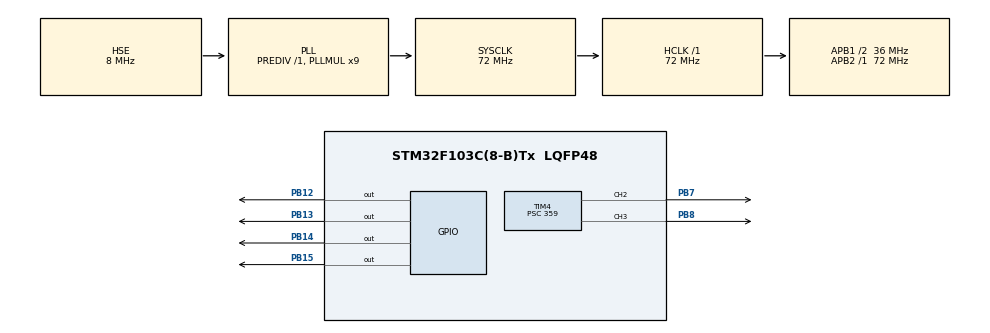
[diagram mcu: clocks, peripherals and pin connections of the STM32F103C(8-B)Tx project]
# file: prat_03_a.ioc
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Mcu.Family=STM32F1
Mcu.Name=STM32F103C(8-B)Tx
Mcu.Package=LQFP48
NVIC.PriorityGroup=NVIC_PRIORITYGROUP_4
NVIC.TIM4_IRQn=true\:0\:0\:false\:false\:true\:true\:true
PA13.Mode=Serial_Wire
PA13.Signal=SYS_JTMS-SWDIO
PA14.Mode=Serial_Wire
PA14.Signal=SYS_JTCK-SWCLK
PB12.Signal=GPIO_Output
PB13.Signal=GPIO_Output
PB14.Signal=GPIO_Output
PB15.Signal=GPIO_Output
PB7.Signal=S_TIM4_CH2
PB8.Signal=S_TIM4_CH3
PD0-OSC_IN.Mode=HSE-External-Oscillator
PD0-OSC_IN.Signal=RCC_OSC_IN
PD1-OSC_OUT.Mode=HSE-External-Oscillator
PD1-OSC_OUT.Signal=RCC_OSC_OUT
ProjectManager.HeapSize=0x200
ProjectManager.StackSize=0x400
ProjectManager.TargetToolchain=STM32CubeIDE
RCC.AHBFreq_Value=72000000
RCC.APB1CLKDivider=RCC_HCLK_DIV2
RCC.APB1Freq_Value=36000000
RCC.APB1TimFreq_Value=72000000
RCC.APB2Freq_Value=72000000
RCC.APB2TimFreq_Value=72000000
RCC.HCLKFreq_Value=72000000
RCC.PLLMUL=RCC_PLL_MUL9
RCC.PLLSourceVirtual=RCC_PLLSOURCE_HSE
RCC.SYSCLKFreq_VALUE=72000000
RCC.SYSCLKSource=RCC_SYSCLKSOURCE_PLLCLK
RCC.USBFreq_Value=72000000
SH.S_TIM4_CH2.0=TIM4_CH2,PWM Generation2 CH2
SH.S_TIM4_CH3.0=TIM4_CH3,PWM Generation3 CH3
TIM4.Channel-PWM\ Generation2\ CH2=TIM_CHANNEL_2
TIM4.Channel-PWM\ Generation3\ CH3=TIM_CHANNEL_3
TIM4.Period=99
TIM4.Prescaler=359
VP_TIM4_VS_ClockSourceINT.Mode=Internal
board=custom

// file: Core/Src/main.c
/* USER CODE BEGIN Header */
/**
  ******************************************************************************
  * @file           : main.c
  * @brief          : Main program body
  ******************************************************************************
  * @attention
  *
  * <h2><center>&copy; Copyright (c) 2021 STMicroelectronics.
  * All rights reserved.</center></h2>
  *
  * This software component is licensed by ST under BSD 3-Clause license,
  * the "License"; You may not use this file except in compliance with the
  * License. You may obtain a copy of the License at:
  *                        opensource.org/licenses/BSD-3-Clause
  *
  ******************************************************************************
  */
/* USER CODE END Header */
#include "main.h"

#define DT_D1 150                       // delay do LED D1
#define DT_D2 200                      // delay do LED D2
#define DT_D3 400                      // delay do LED D3
#define DT_D4 600                      // delay do LED D4
#define PER_PB7 2000                   // tempo do ciclo (ms) do led PB7
#define PER_PB8 2000                   // tempo do ciclo (ms) do led PB8
#define PWM_ARR 100                    // resolução (num steps) do PWM
#define MAX_quem_pisca 4               // num max LEDs piscando...

TIM_HandleTypeDef htim4;

/* USER CODE BEGIN PV */
volatile uint32_t lb12;
volatile uint32_t lb13;
volatile uint32_t lb14;
volatile uint32_t lb15;
volatile uint32_t lb7;
volatile uint32_t lb8;

/* USER CODE END PV */

void SystemClock_Config(void);
static void MX_GPIO_Init(void);
static void MX_TIM4_Init(void);

int main(void)
{

  /* MCU Configuration--------------------------------------------------------*/

  /* Reset of all peripherals, Initializes the Flash interface and the Systick. */
  HAL_Init();

  /* Configure the system clock */
  SystemClock_Config();

  /* Initialize all configured peripherals */
  MX_GPIO_Init();
  MX_TIM4_Init();
  /* USER CODE BEGIN 2 */
  // como não garante entrar nas FSM na primeira vez, garante LEDs apagados
  	HAL_GPIO_WritePin(GPIOB, GPIO_PIN_15|GPIO_PIN_14|GPIO_PIN_13|GPIO_PIN_12,
  			          GPIO_PIN_SET); // desliga os LEDs
    // para iniciar vars de controle para máquinas de estados dos leds
      static enum {INI_D1, LIG_D1, DSLG_D1} sttD1=INI_D1; // var estados de D1
      static enum {INI_D2, LIG_D2, DSLG_D2} sttD2=INI_D2; // var estados de D2
      static enum {INI_D3, LIG_D3, DSLG_D3} sttD3=INI_D3; // var estados de D3
      static enum {INI_D4, LIG_D4, DSLG_D4} sttD4=INI_D4; // var estados de D4
      static enum {INI_D7, INC_D7, DEC_D7}  sttD7=INI_D7; // var estados de D7
      static enum {INI_D8, INC_D8, DEC_D8}  sttD8=INI_D8; // var estados de D8
    // para controlar vars tempos de entrada na rotina ON/OFF de cada LED
      uint32_t tin_D1=0, tin_D2=0, tin_D3=0, tin_D4=0,
      		   tin_D7=0, tin_D8=0, quem_pisca=1;
      uint16_t dc_D7 = 0;                // ini dc_D7 (brilho LED D7)
      uint16_t dc_D8 = PWM_ARR;          // ini dc_D8 com maximo
      int dt_D7 = PER_PB7/(2*PWM_ARR);   // calc delta tempo p/ PB7
      int dt_D8 = PER_PB8/(2*PWM_ARR);   // calc delta tempo p/ PB8 = PB7
      // inicializar o PWM do timer 4 ch 2 zerado
      HAL_TIM_PWM_Start(&htim4, TIM_CHANNEL_2); // inicializa PWM no T4C2
      TIM4->CCR2 = dc_D7;                // inicia comparador PWM c/ 0
      HAL_TIM_PWM_Start(&htim4, TIM_CHANNEL_3); // inicializa PWM no T4C3
      TIM4->CCR3 = dc_D8;                // inicia comparador PWM c/ ARR-1

  /* USER CODE END 2 */

  /* Infinite loop */
  while (1)
  {

    /* USER CODE BEGIN 3 */
  // executa sempre: teste não deixa a var quem_pisca ser maior que o máximo
	  if(quem_pisca > MAX_quem_pisca) quem_pisca=1;

  // tarefa #1 : controlar o estado do LED D1
	if (quem_pisca==1)
	{
		switch (sttD1)
		{
		  case INI_D1:                 // vai iniciar a máquina de estado
			tin_D1 = HAL_GetTick();    // tempo inicial que iniciou a tarefa
			sttD1 = LIG_D1;            // prox estado da máquina
			HAL_GPIO_WritePin(GPIOB, GPIO_PIN_15, GPIO_PIN_SET); // desl o LED
			break;
		  case LIG_D1:                 // estado para ligar o LED
			if((HAL_GetTick()-tin_D1)>DT_D1) // se HAL_GetTick()-tin_D1 > DT_D1
			{
			  tin_D1 = HAL_GetTick();  // guarda tempo p/ prox mudança estado
			  sttD1 = DSLG_D1;         // muda o prox estado da máquina
			  HAL_GPIO_WritePin(GPIOB, GPIO_PIN_15, GPIO_PIN_RESET); // ligaLED
			  lb15 = 0;
			}
			break;
		  case DSLG_D1:                // estado para desligar o LED
			if((HAL_GetTick()-tin_D1)>DT_D1) // se HAL_GetTick()-tin_D1 > DT_D1
			{
			  tin_D1 = HAL_GetTick();  // guarda tempo p/ prox mudança estado
			  sttD1 = LIG_D1;          // muda o prox estado da máquina
			  HAL_GPIO_WritePin(GPIOB, GPIO_PIN_15, GPIO_PIN_SET); // desl LED
			  lb15 = 1;
			  quem_pisca ++;
			}
			break;
		};
	}

	// tarefa #2 : controlar o estado do LED D2
	if (quem_pisca==2)
	{
		switch (sttD2)
		{
		  case INI_D2:                 // vai iniciar a máquina de estado
			tin_D2 = HAL_GetTick();    // tempo inicial que iniciou a tarefa
			sttD2 = LIG_D2;            // prox estado da máquina
			HAL_GPIO_WritePin(GPIOB, GPIO_PIN_14, GPIO_PIN_SET); // desl o LED

			break;
		  case LIG_D2:                 // estado para ligar o LED
			if((HAL_GetTick()-tin_D2)>DT_D2) // se HAL_GetTick()-tin_D2 > DT_D2
			{
			  tin_D2 = HAL_GetTick();  // guarda tempo p/ prox mudança estado
			  sttD2 = DSLG_D2;         // muda o prox estado da máquina
			  HAL_GPIO_WritePin(GPIOB, GPIO_PIN_14, GPIO_PIN_RESET); // ligaLED
			  lb14 = 0;
			}
			break;
		  case DSLG_D2:                // estado para desligar o LED
			if((HAL_GetTick()-tin_D2)>DT_D2) // se HAL_GetTick()-tin_D2 > DT_D2
			{
			  tin_D2 = HAL_GetTick();  // guarda tempo p/ prox mudança estado
			  sttD2 = LIG_D2;          // muda o prox estado da máquina
			  HAL_GPIO_WritePin(GPIOB, GPIO_PIN_14, GPIO_PIN_SET); // desl LED
			  lb14 = 1;
			  quem_pisca ++;
			}
			break;
		};
	}

  // tarefa #3 : controlar o estado do LED D3
	if (quem_pisca==3)
	{
		switch (sttD3)
		{
		  case INI_D3:                 // vai iniciar a máquina de estado
			tin_D3 = HAL_GetTick();    // tempo inicial que iniciou a tarefa
			sttD3 = LIG_D3;            // prox estado da máquina
			HAL_GPIO_WritePin(GPIOB, GPIO_PIN_13, GPIO_PIN_SET); // desl o LED
			break;
		  case LIG_D3:                 // estado para ligar o LED
			if((HAL_GetTick()-tin_D3)>DT_D3) // se HAL_GetTick()-tin_D3 > DT_D3
			{
			  tin_D3 = HAL_GetTick();  // guarda tempo p/ prox mudança estado
			  sttD3 = DSLG_D3;         // muda o prox estado da máquina
			  HAL_GPIO_WritePin(GPIOB, GPIO_PIN_13, GPIO_PIN_RESET); // ligaLED
			  lb13 = 0;
			}
			break;
		  case DSLG_D3:                // estado para desligar o LED
			if((HAL_GetTick()-tin_D3)>DT_D3) // se HAL_GetTick()-tin_D3 > DT_D3
			{
			  tin_D3 = HAL_GetTick();  // guarda tempo p/ prox mudança estado
			  sttD3 = LIG_D3;          // muda o prox estado da máquina
			  HAL_GPIO_WritePin(GPIOB, GPIO_PIN_13, GPIO_PIN_SET); // desl LED
			  lb13 = 1;
			  quem_pisca ++;
			}
			break;
		};
	}

  // tarefa #4 : controlar o estado do LED D4
	if (quem_pisca==4)
	{
		switch (sttD4)
		{
		  case INI_D4:                 // vai iniciar a máquina de estado
			tin_D4 = HAL_GetTick();    // tempo inicial que iniciou a tarefa
			sttD4 = LIG_D4;            // prox estado da máquina
			HAL_GPIO_WritePin(GPIOB, GPIO_PIN_12, GPIO_PIN_SET); // desl o LED
			break;
		  case LIG_D4:                 // estado para ligar o LED
			if((HAL_GetTick()-tin_D4)>DT_D4) // se HAL_GetTick()-tin_D4 > DT_D4
			{
			  tin_D4 = HAL_GetTick();  // guarda tempo p/ prox mudança estado
			  sttD4 = DSLG_D4;         // muda o prox estado da máquina
			  HAL_GPIO_WritePin(GPIOB, GPIO_PIN_12, GPIO_PIN_RESET); // ligaLED
			  lb12 = 0;
			}
			break;
		  case DSLG_D4:                // estado para desligar o LED
			if((HAL_GetTick()-tin_D4)>DT_D4) // se HAL_GetTick()-tin_D4 > DT_D4
			{
			  tin_D4 = HAL_GetTick();  // guarda tempo p/ prox mudança estado
			  sttD4 = LIG_D4;          // muda o prox estado da máquina
			  HAL_GPIO_WritePin(GPIOB, GPIO_PIN_12, GPIO_PIN_SET); // desl LED
			  lb12 = 1;
			  quem_pisca ++;
			}
			break;
		};
	}

  // tarefa #5 : controlar brilho (duty cycle = dc_D7) do LED PB7
		switch (sttD7)
		{
		  case INI_D7:                 // vai iniciar a máquina de estado
			tin_D7 = HAL_GetTick();    // tempo em que iniciou a tarefa
			sttD7 = INC_D7;            // prox estado da máquina
			TIM4->CCR2 = 0;            // inicia val dc_D7 = 0
			break;
		  case INC_D7:                 // estado para incrementar PWM
			if((HAL_GetTick()-tin_D7)>dt_D7)  // se o milis-tin_D7 > dt_PD7
			{
			  tin_D7 = HAL_GetTick();  // tempo p/ prox mudança dc_D7
			  ++ dc_D7;                // incrementa dc_D7
			  if (dc_D7>=PWM_ARR) sttD7=DEC_D7;  // muda maq est p/ DEC_D7
			  TIM4->CCR2 = dc_D7;      // set comparador com valor dc_D7
			  lb7 = dc_D7;
			}
			break;
		  case DEC_D7:                 // estado para decrementar o PWM
			if((HAL_GetTick()-tin_D7)>dt_D7)  // se o milis-tin_D7 > dt_PD7
			{
			  tin_D7 = HAL_GetTick();  // tempo p/ prox mudança dc_D7
			  -- dc_D7;                // decrementa dc_D7
			  if (dc_D7 <= 0) sttD7=INC_D7;  // muda maq est p/ INC_D7
			  TIM4->CCR2 = dc_D7;      // set comparador com valor dc_D7
			  lb7 = dc_D7;
			}
			break;
		};
  // tarefa #6 : controle do duty-cycle do pino PB8
		switch (sttD8)
		{
		  case INI_D8:                 // vai iniciar a máquina de estado
			tin_D8 = HAL_GetTick();    // tempo em que iniciou a tarefa
			sttD8 = INC_D8;            // prox estado da máquina
			TIM4->CCR3 = 0;            // inicia val dc_D8 = 0
			break;
		  case INC_D8:                 // estado para incrementar PWM
			if((HAL_GetTick()-tin_D8)>dt_D8)  // se o milis-tin_D8 > dt_PD8
			{
			  tin_D8 = HAL_GetTick();  // tempo p/ prox mudança dc_D8
			  ++ dc_D8;                // incrementa dc_D8
			  if (dc_D8>=PWM_ARR) sttD8=DEC_D8;  // muda maq est p/ DEC_D8
			  TIM4->CCR3 = dc_D8;      // set comparador com valor dc_D8
			  lb8 = dc_D8;
			}
			break;
		  case DEC_D8:                 // estado para decrementar o PWM
			if((HAL_GetTick()-tin_D8)>dt_D8)  // se o milis-tin_D8 > dt_PD8
			{
			  tin_D8 = HAL_GetTick();  // tempo p/ prox mudança dc_D8
			  -- dc_D8;                // decrementa dc_D8
			  if (dc_D8 <= 0) sttD8=INC_D8;  // muda maq est p/ INC_D8
			  TIM4->CCR3 = dc_D8;      // set comparador com valor dc_D8
			  lb8 = dc_D8;
			}
			break;
		};
	}

  }
  /* USER CODE END 3 */

void SystemClock_Config(void)
{
  RCC_OscInitTypeDef RCC_OscInitStruct = {0};
  RCC_ClkInitTypeDef RCC_ClkInitStruct = {0};

  /** Initializes the RCC Oscillators according to the specified parameters
  * in the RCC_OscInitTypeDef structure.
  */
  RCC_OscInitStruct.OscillatorType = RCC_OSCILLATORTYPE_HSE;
  RCC_OscInitStruct.HSEState = RCC_HSE_ON;
  RCC_OscInitStruct.HSEPredivValue = RCC_HSE_PREDIV_DIV1;
  RCC_OscInitStruct.HSIState = RCC_HSI_ON;
  RCC_OscInitStruct.PLL.PLLState = RCC_PLL_ON;
  RCC_OscInitStruct.PLL.PLLSource = RCC_PLLSOURCE_HSE;
  RCC_OscInitStruct.PLL.PLLMUL = RCC_PLL_MUL9;
  if (HAL_RCC_OscConfig(&RCC_OscInitStruct) != HAL_OK)
  {
    Error_Handler();
  }
  /** Initializes the CPU, AHB and APB buses clocks
  */
  RCC_ClkInitStruct.ClockType = RCC_CLOCKTYPE_HCLK|RCC_CLOCKTYPE_SYSCLK
                              |RCC_CLOCKTYPE_PCLK1|RCC_CLOCKTYPE_PCLK2;
  RCC_ClkInitStruct.SYSCLKSource = RCC_SYSCLKSOURCE_PLLCLK;
  RCC_ClkInitStruct.AHBCLKDivider = RCC_SYSCLK_DIV1;
  RCC_ClkInitStruct.APB1CLKDivider = RCC_HCLK_DIV2;
  RCC_ClkInitStruct.APB2CLKDivider = RCC_HCLK_DIV1;

  if (HAL_RCC_ClockConfig(&RCC_ClkInitStruct, FLASH_LATENCY_2) != HAL_OK)
  {
    Error_Handler();
  }
}

static void MX_TIM4_Init(void)
{

  TIM_ClockConfigTypeDef sClockSourceConfig = {0};
  TIM_MasterConfigTypeDef sMasterConfig = {0};
  TIM_OC_InitTypeDef sConfigOC = {0};

  htim4.Instance = TIM4;
  htim4.Init.Prescaler = 359;
  htim4.Init.CounterMode = TIM_COUNTERMODE_UP;
  htim4.Init.Period = 99;
  htim4.Init.ClockDivision = TIM_CLOCKDIVISION_DIV1;
  htim4.Init.AutoReloadPreload = TIM_AUTORELOAD_PRELOAD_DISABLE;
  if (HAL_TIM_Base_Init(&htim4) != HAL_OK)
  {
    Error_Handler();
  }
  sClockSourceConfig.ClockSource = TIM_CLOCKSOURCE_INTERNAL;
  if (HAL_TIM_ConfigClockSource(&htim4, &sClockSourceConfig) != HAL_OK)
  {
    Error_Handler();
  }
  if (HAL_TIM_PWM_Init(&htim4) != HAL_OK)
  {
    Error_Handler();
  }
  sMasterConfig.MasterOutputTrigger = TIM_TRGO_RESET;
  sMasterConfig.MasterSlaveMode = TIM_MASTERSLAVEMODE_DISABLE;
  if (HAL_TIMEx_MasterConfigSynchronization(&htim4, &sMasterConfig) != HAL_OK)
  {
    Error_Handler();
  }
  sConfigOC.OCMode = TIM_OCMODE_PWM1;
  sConfigOC.Pulse = 0;
  sConfigOC.OCPolarity = TIM_OCPOLARITY_HIGH;
  sConfigOC.OCFastMode = TIM_OCFAST_DISABLE;
  if (HAL_TIM_PWM_ConfigChannel(&htim4, &sConfigOC, TIM_CHANNEL_2) != HAL_OK)
  {
    Error_Handler();
  }
  if (HAL_TIM_PWM_ConfigChannel(&htim4, &sConfigOC, TIM_CHANNEL_3) != HAL_OK)
  {
    Error_Handler();
  }
  HAL_TIM_MspPostInit(&htim4);

}

static void MX_GPIO_Init(void)
{
  GPIO_InitTypeDef GPIO_InitStruct = {0};

  /* GPIO Ports Clock Enable */
  __HAL_RCC_GPIOD_CLK_ENABLE();
  __HAL_RCC_GPIOB_CLK_ENABLE();
  __HAL_RCC_GPIOA_CLK_ENABLE();

  /*Configure GPIO pin Output Level */
  HAL_GPIO_WritePin(GPIOB, GPIO_PIN_12|GPIO_PIN_13|GPIO_PIN_14|GPIO_PIN_15, GPIO_PIN_RESET);

  /*Configure GPIO pins : PB12 PB13 PB14 PB15 */
  GPIO_InitStruct.Pin = GPIO_PIN_12|GPIO_PIN_13|GPIO_PIN_14|GPIO_PIN_15;
  GPIO_InitStruct.Mode = GPIO_MODE_OUTPUT_PP;
  GPIO_InitStruct.Pull = GPIO_NOPULL;
  GPIO_InitStruct.Speed = GPIO_SPEED_FREQ_LOW;
  HAL_GPIO_Init(GPIOB, &GPIO_InitStruct);

}

void Error_Handler(void)
{
  __disable_irq();
  while (1)
  {
  }
}

/************************ (C) COPYRIGHT STMicroelectronics *****END OF FILE****/
